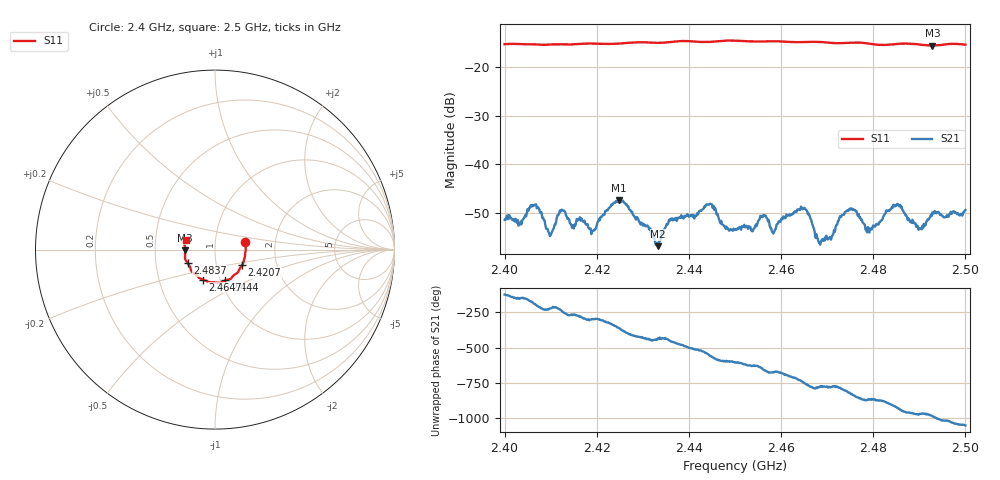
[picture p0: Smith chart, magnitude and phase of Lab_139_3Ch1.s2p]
# Hz S RI R 50
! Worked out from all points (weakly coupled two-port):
!   601 points, 2.4 GHz to 2.5 GHz, reference 50 ohm
!   highest |S21| = -47.39 dB at 2.4248 GHz (marker M1); lowest = -56.9 dB at 2.4333 GHz (marker M2)
!   lowest |S11| = -15.6 dB at 2.4928 GHz (marker M3), VSWR 1.40, Z = 35.7 - j0.315 ohm
!   |S11| at or under -10 dB: start of sweep to end of sweep
!   S12 and S22 are empty: the file has one direction only
!   S11 on the Smith chart (normalised r, x): 2.4 GHz: 1.39, +0.12; 2.4207 GHz: 1.33, -0.24; 2.444 GHz: 1.05, -0.37; 2.4647 GHz: 0.83, -0.29; 2.4837 GHz: 0.73, -0.11; 2.5 GHz: 0.72, +0.08
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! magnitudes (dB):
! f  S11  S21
! 2.4 GHz  -15.3  -51.5
! 2.4063 GHz  -15.3  -48.6
! 2.4098 GHz  -15.4  -54.8
! 2.4125 GHz  -15.3  -49.4
! 2.4167 GHz  -15.2  -51.2
! 2.4207 GHz  -15.2  -51.5
! 2.4248 GHz  -15.2  -47.4
! 2.4333 GHz  -15.0  -56.9
! 2.444 GHz  -14.9  -48.3
! 2.45 GHz  -14.6  -53.5
! 2.4562 GHz  -14.8  -50.4
! 2.4583 GHz  -14.7  -54.3
! 2.4647 GHz  -14.9  -49.3
! 2.4667 GHz  -14.8  -52.0
! 2.4687 GHz  -14.9  -55.9
! 2.4748 GHz  -15.0  -49.4
! 2.4788 GHz  -15.2  -53.0
! 2.4833 GHz  -15.4  -49.5
! 2.4837 GHz  -15.4  -49.4
! 2.4903 GHz  -15.4  -53.2
! 2.4928 GHz  -15.6  -49.9
! 2.5 GHz  -15.4  -49.5
